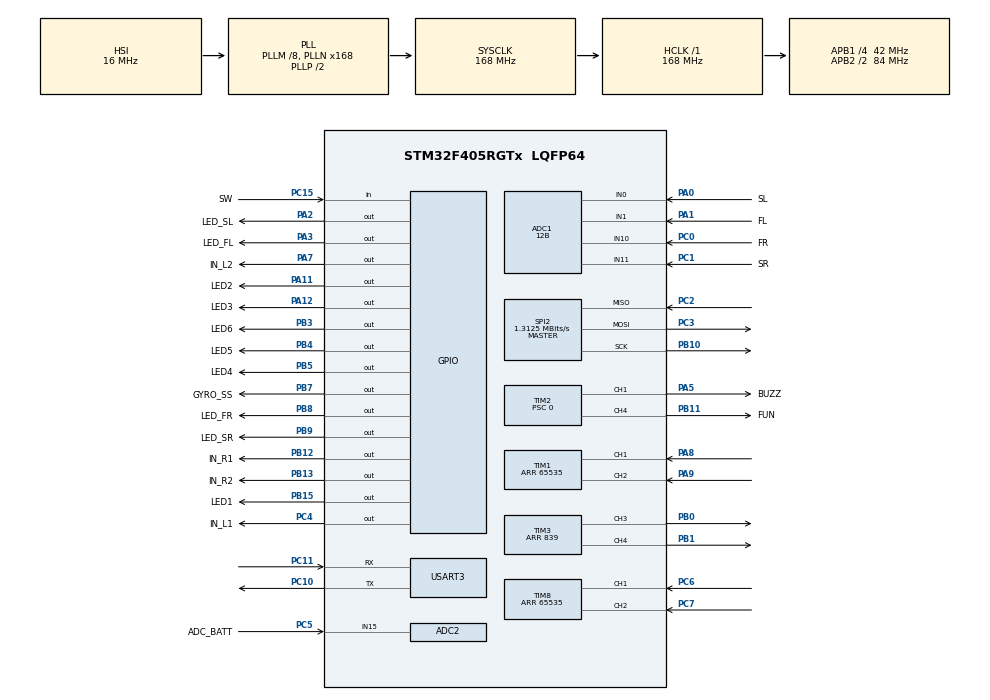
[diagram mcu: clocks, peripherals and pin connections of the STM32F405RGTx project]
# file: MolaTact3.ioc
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ADC1.Channel-0\#ChannelRegularConversion=ADC_CHANNEL_10
ADC1.Channel-1\#ChannelRegularConversion=ADC_CHANNEL_1
ADC1.Channel-2\#ChannelRegularConversion=ADC_CHANNEL_11
ADC1.Channel-3\#ChannelRegularConversion=ADC_CHANNEL_0
ADC1.ClockPrescaler=ADC_CLOCK_SYNC_PCLK_DIV4
ADC1.ContinuousConvMode=ENABLE
ADC1.DMAContinuousRequests=ENABLE
ADC1.NbrOfConversion=4
ADC1.NbrOfConversionFlag=1
ADC1.Rank-0\#ChannelRegularConversion=1
ADC1.Rank-1\#ChannelRegularConversion=2
ADC1.Rank-2\#ChannelRegularConversion=3
ADC1.Rank-3\#ChannelRegularConversion=4
ADC1.Resolution=ADC_RESOLUTION_12B
ADC1.SamplingTime-0\#ChannelRegularConversion=ADC_SAMPLETIME_15CYCLES
ADC1.SamplingTime-1\#ChannelRegularConversion=ADC_SAMPLETIME_15CYCLES
ADC1.SamplingTime-2\#ChannelRegularConversion=ADC_SAMPLETIME_15CYCLES
ADC1.SamplingTime-3\#ChannelRegularConversion=ADC_SAMPLETIME_15CYCLES
ADC1.ScanConvMode=ENABLE
ADC1.master=1
ADC2.Channel-0\#ChannelRegularConversion=ADC_CHANNEL_15
ADC2.NbrOfConversionFlag=1
ADC2.Rank-0\#ChannelRegularConversion=1
ADC2.Resolution=ADC_RESOLUTION_10B
ADC2.SamplingTime-0\#ChannelRegularConversion=ADC_SAMPLETIME_3CYCLES
Dma.ADC1.0.Direction=DMA_PERIPH_TO_MEMORY
Dma.ADC1.0.FIFOMode=DMA_FIFOMODE_DISABLE
Dma.ADC1.0.Instance=DMA2_Stream4
Dma.ADC1.0.MemDataAlignment=DMA_MDATAALIGN_HALFWORD
Dma.ADC1.0.MemInc=DMA_MINC_ENABLE
Dma.ADC1.0.Mode=DMA_NORMAL
Dma.ADC1.0.PeriphDataAlignment=DMA_PDATAALIGN_HALFWORD
Dma.ADC1.0.PeriphInc=DMA_PINC_DISABLE
Dma.ADC1.0.Priority=DMA_PRIORITY_MEDIUM
Dma.Request0=ADC1
Mcu.Family=STM32F4
Mcu.Name=STM32F405RGTx
Mcu.Package=LQFP64
NVIC.DMA2_Stream4_IRQn=true\:0\:0\:false\:false\:true\:false\:true
NVIC.PriorityGroup=NVIC_PRIORITYGROUP_4
NVIC.TIM3_IRQn=true\:0\:0\:false\:false\:true\:true\:true
NVIC.TIM4_IRQn=true\:0\:0\:false\:false\:true\:true\:true
NVIC.TIM5_IRQn=true\:0\:0\:false\:false\:true\:true\:true
PA0-WKUP.GPIO_Label=SL
PA0-WKUP.Signal=ADCx_IN0
PA1.GPIO_Label=FL
PA1.Signal=ADCx_IN1
PA11.GPIO_Label=LED2
PA11.Signal=GPIO_Output
PA12.GPIO_Label=LED3
PA12.Signal=GPIO_Output
PA13.Signal=SYS_JTMS-SWDIO
PA14.Signal=SYS_JTCK-SWCLK
PA2.GPIO_Label=LED_SL
PA2.Signal=GPIO_Output
PA3.GPIO_Label=LED_FL
PA3.Signal=GPIO_Output
PA5.GPIO_Label=BUZZ
PA5.Signal=S_TIM2_CH1_ETR
PA7.GPIO_Label=IN_L2
PA7.Signal=GPIO_Output
PA8.Signal=S_TIM1_CH1
PA9.Signal=S_TIM1_CH2
PB0.Signal=S_TIM3_CH3
PB1.Signal=S_TIM3_CH4
PB10.Mode=Full_Duplex_Master
PB10.Signal=SPI2_SCK
PB11.GPIO_Label=FUN
PB11.Signal=S_TIM2_CH4
PB12.GPIO_Label=IN_R1
PB12.Signal=GPIO_Output
PB13.GPIO_Label=IN_R2
PB13.Signal=GPIO_Output
PB15.GPIO_Label=LED1
PB15.Signal=GPIO_Output
PB3.GPIO_Label=LED6
PB3.Signal=GPIO_Output
PB4.GPIO_Label=LED5
PB4.Signal=GPIO_Output
PB5.GPIO_Label=LED4
PB5.Signal=GPIO_Output
PB7.GPIO_Label=GYRO_SS
PB7.Signal=GPIO_Output
PB8.GPIO_Label=LED_FR
PB8.Signal=GPIO_Output
PB9.GPIO_Label=LED_SR
PB9.Signal=GPIO_Output
PC0.GPIO_Label=FR
PC0.Signal=ADCx_IN10
PC1.GPIO_Label=SR
PC1.Signal=ADCx_IN11
PC10.Mode=Asynchronous
PC10.Signal=USART3_TX
PC11.Mode=Asynchronous
PC11.Signal=USART3_RX
PC15-OSC32_OUT.GPIO_Label=SW
PC15-OSC32_OUT.Signal=GPIO_Input
PC2.Mode=Full_Duplex_Master
PC2.Signal=SPI2_MISO
PC3.Mode=Full_Duplex_Master
PC3.Signal=SPI2_MOSI
PC4.GPIO_Label=IN_L1
PC4.Signal=GPIO_Output
PC5.GPIO_Label=ADC_BATT
PC5.Signal=ADCx_IN15
PC6.Signal=S_TIM8_CH1
PC7.Signal=S_TIM8_CH2
ProjectManager.HeapSize=0x200
ProjectManager.StackSize=0x400
ProjectManager.TargetToolchain=STM32CubeIDE
RCC.48MHZClocksFreq_Value=84000000
RCC.AHBFreq_Value=168000000
RCC.APB1CLKDivider=RCC_HCLK_DIV4
RCC.APB1Freq_Value=42000000
RCC.APB1TimFreq_Value=84000000
RCC.APB2CLKDivider=RCC_HCLK_DIV2
RCC.APB2Freq_Value=84000000
RCC.APB2TimFreq_Value=168000000
RCC.CortexFreq_Value=168000000
RCC.HCLKFreq_Value=168000000
RCC.HSE_VALUE=25000000
RCC.HSI_VALUE=16000000
RCC.LSE_VALUE=32768
RCC.PLLM=8
RCC.PLLN=168
RCC.SYSCLKFreq_VALUE=168000000
RCC.SYSCLKSource=RCC_SYSCLKSOURCE_PLLCLK
RCC.VCOOutputFreq_Value=336000000
SH.ADCx_IN0.0=ADC1_IN0,IN0
SH.ADCx_IN1.0=ADC1_IN1,IN1
SH.ADCx_IN10.0=ADC1_IN10,IN10
SH.ADCx_IN11.0=ADC1_IN11,IN11
SH.ADCx_IN15.0=ADC2_IN15,IN15
SH.S_TIM1_CH1.0=TIM1_CH1,Encoder_Interface
SH.S_TIM1_CH2.0=TIM1_CH2,Encoder_Interface
SH.S_TIM2_CH1_ETR.0=TIM2_CH1,PWM Generation1 CH1
SH.S_TIM2_CH4.0=TIM2_CH4,PWM Generation4 CH4
SH.S_TIM3_CH3.0=TIM3_CH3,PWM Generation3 CH3
SH.S_TIM3_CH4.0=TIM3_CH4,PWM Generation4 CH4
SH.S_TIM8_CH1.0=TIM8_CH1,Encoder_Interface
SH.S_TIM8_CH2.0=TIM8_CH2,Encoder_Interface
SPI2.BaudRatePrescaler=SPI_BAUDRATEPRESCALER_32
SPI2.CalculateBaudRate=1.3125 MBits/s
SPI2.Direction=SPI_DIRECTION_2LINES
SPI2.Mode=SPI_MODE_MASTER
SPI2.VirtualType=VM_MASTER
TIM1.ClockDivision=TIM_CLOCKDIVISION_DIV4
TIM1.EncoderMode=TIM_ENCODERMODE_TI12
TIM1.Period=65535
TIM2.Channel-PWM\ Generation1\ CH1=TIM_CHANNEL_1
TIM2.Channel-PWM\ Generation4\ CH4=TIM_CHANNEL_4
TIM2.Period=999
TIM2.Prescaler=0
TIM3.Channel-PWM\ Generation3\ CH3=TIM_CHANNEL_3
TIM3.Channel-PWM\ Generation4\ CH4=TIM_CHANNEL_4
TIM3.Period=839
TIM4.Period=999
TIM4.Prescaler=83
TIM5.Period=999
TIM5.Prescaler=83
TIM8.AutoReloadPreload=TIM_AUTORELOAD_PRELOAD_DISABLE
TIM8.ClockDivision=TIM_CLOCKDIVISION_DIV4
TIM8.EncoderMode=TIM_ENCODERMODE_TI12
TIM8.Period=65535
USART3.VirtualMode=VM_ASYNC
VP_TIM4_VS_ClockSourceINT.Mode=Internal
VP_TIM5_VS_ClockSourceINT.Mode=Internal
board=custom

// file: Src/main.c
/* USER CODE BEGIN Header */
/**
  ******************************************************************************
  * @file           : main.c
  * @brief          : Main program body
  ******************************************************************************
  * @attention
  *
  * <h2><center>&copy; Copyright (c) 2019 STMicroelectronics.
  * All rights reserved.</center></h2>
  *
  * This software component is licensed by ST under BSD 3-Clause license,
  * the "License"; You may not use this file except in compliance with the
  * License. You may obtain a copy of the License at:
  *                        opensource.org/licenses/BSD-3-Clause
  *
  ******************************************************************************
  */

/* USER CODE END Header */

#include "main.h"

/* USER CODE BEGIN Includes */
#define MAIN_C_

#include "global.h"

/* USER CODE END Includes */

ADC_HandleTypeDef hadc1;
ADC_HandleTypeDef hadc2;
DMA_HandleTypeDef hdma_adc1;

SPI_HandleTypeDef hspi2;

TIM_HandleTypeDef htim1;
TIM_HandleTypeDef htim2;
TIM_HandleTypeDef htim3;
TIM_HandleTypeDef htim4;
TIM_HandleTypeDef htim5;
TIM_HandleTypeDef htim8;

UART_HandleTypeDef huart3;

/* USER CODE BEGIN PV */
#ifdef __GNUC__
#define PUTCHAR_PROTOTYPE int __io_putchar(int ch)
#else
#define PUTCHAR_PROTOTYPE int fputc(int ch, FILE *f)
#endif /* __GNUC__ */

void __io_putchar(uint8_t ch) {
HAL_UART_Transmit(&huart3, &ch, 1, 1);
}
/* USER CODE END PV */

void SystemClock_Config(void);
static void MX_GPIO_Init(void);
static void MX_DMA_Init(void);
static void MX_ADC1_Init(void);
static void MX_SPI2_Init(void);
static void MX_TIM1_Init(void);
static void MX_TIM2_Init(void);
static void MX_TIM3_Init(void);
static void MX_TIM4_Init(void);
static void MX_TIM8_Init(void);
static void MX_USART3_UART_Init(void);
static void MX_ADC2_Init(void);
static void MX_TIM5_Init(void);
/* USER CODE BEGIN PFP */

uint8_t mode = 0;
/* USER CODE END PFP */

int main(void)
{
  /* USER CODE BEGIN 1 */
	setbuf(stdout, NULL);
  /* USER CODE END 1 */

  /* MCU Configuration--------------------------------------------------------*/

  /* Reset of all peripherals, Initializes the Flash interface and the Systick. */
  HAL_Init();

  /* Configure the system clock */
  SystemClock_Config();

  /* Initialize all configured peripherals */
  MX_GPIO_Init();
  MX_DMA_Init();
  MX_ADC1_Init();
  MX_SPI2_Init();
  MX_TIM1_Init();
  MX_TIM2_Init();
  MX_TIM3_Init();
  MX_TIM4_Init();
  MX_TIM8_Init();
  MX_USART3_UART_Init();
  MX_ADC2_Init();
  MX_TIM5_Init();
  /* USER CODE BEGIN 2 */
  printf("\nProgram Start!\n\r");

//Initialization
  MF.FLAGS = 0;
  Search_Init();
  IMU_Init();
  ICM20602_Init();

//function start

   HAL_TIM_Encoder_Start( &htim1, TIM_CHANNEL_ALL );
   HAL_TIM_Encoder_Start( &htim8, TIM_CHANNEL_ALL );
   Encoder_Init();
   HAL_TIM_Base_Start_IT(&htim2);
   HAL_TIM_Base_Start_IT(&htim4);
   HAL_TIM_Base_Start_IT(&htim5);
   Motor_Init();
   Start_LED();
   Battery_Monitor();

  /* USER CODE END 2 */

  /* Infinite loop */
  /* USER CODE BEGIN WHILE */
   while (1)
   {
		   printf("Select Mode!\r\n");
		   mode = mode_change();
		   printf("Mode=%d\r\n", mode);
		   Mode_Select(mode);

    /* USER CODE END WHILE */

  	  }
}

void SystemClock_Config(void)
{
  RCC_OscInitTypeDef RCC_OscInitStruct = {0};
  RCC_ClkInitTypeDef RCC_ClkInitStruct = {0};

  /** Configure the main internal regulator output voltage
  */
  __HAL_RCC_PWR_CLK_ENABLE();
  __HAL_PWR_VOLTAGESCALING_CONFIG(PWR_REGULATOR_VOLTAGE_SCALE1);
  /** Initializes the CPU, AHB and APB busses clocks
  */
  RCC_OscInitStruct.OscillatorType = RCC_OSCILLATORTYPE_HSI;
  RCC_OscInitStruct.HSIState = RCC_HSI_ON;
  RCC_OscInitStruct.HSICalibrationValue = RCC_HSICALIBRATION_DEFAULT;
  RCC_OscInitStruct.PLL.PLLState = RCC_PLL_ON;
  RCC_OscInitStruct.PLL.PLLSource = RCC_PLLSOURCE_HSI;
  RCC_OscInitStruct.PLL.PLLM = 8;
  RCC_OscInitStruct.PLL.PLLN = 168;
  RCC_OscInitStruct.PLL.PLLP = RCC_PLLP_DIV2;
  RCC_OscInitStruct.PLL.PLLQ = 4;
  if (HAL_RCC_OscConfig(&RCC_OscInitStruct) != HAL_OK)
  {
    Error_Handler();
  }
  /** Initializes the CPU, AHB and APB busses clocks
  */
  RCC_ClkInitStruct.ClockType = RCC_CLOCKTYPE_HCLK|RCC_CLOCKTYPE_SYSCLK
                              |RCC_CLOCKTYPE_PCLK1|RCC_CLOCKTYPE_PCLK2;
  RCC_ClkInitStruct.SYSCLKSource = RCC_SYSCLKSOURCE_PLLCLK;
  RCC_ClkInitStruct.AHBCLKDivider = RCC_SYSCLK_DIV1;
  RCC_ClkInitStruct.APB1CLKDivider = RCC_HCLK_DIV4;
  RCC_ClkInitStruct.APB2CLKDivider = RCC_HCLK_DIV2;

  if (HAL_RCC_ClockConfig(&RCC_ClkInitStruct, FLASH_LATENCY_5) != HAL_OK)
  {
    Error_Handler();
  }
}

static void MX_ADC1_Init(void)
{

  ADC_ChannelConfTypeDef sConfig = {0};

  /** Configure the global features of the ADC (Clock, Resolution, Data Alignment and number of conversion)
  */
  hadc1.Instance = ADC1;
  hadc1.Init.ClockPrescaler = ADC_CLOCK_SYNC_PCLK_DIV4;
  hadc1.Init.Resolution = ADC_RESOLUTION_12B;
  hadc1.Init.ScanConvMode = ENABLE;
  hadc1.Init.ContinuousConvMode = ENABLE;
  hadc1.Init.DiscontinuousConvMode = DISABLE;
  hadc1.Init.ExternalTrigConvEdge = ADC_EXTERNALTRIGCONVEDGE_NONE;
  hadc1.Init.ExternalTrigConv = ADC_SOFTWARE_START;
  hadc1.Init.DataAlign = ADC_DATAALIGN_RIGHT;
  hadc1.Init.NbrOfConversion = 4;
  hadc1.Init.DMAContinuousRequests = ENABLE;
  hadc1.Init.EOCSelection = ADC_EOC_SINGLE_CONV;
  if (HAL_ADC_Init(&hadc1) != HAL_OK)
  {
    Error_Handler();
  }
  /** Configure for the selected ADC regular channel its corresponding rank in the sequencer and its sample time.
  */
  sConfig.Channel = ADC_CHANNEL_10;
  sConfig.Rank = 1;
  sConfig.SamplingTime = ADC_SAMPLETIME_15CYCLES;
  if (HAL_ADC_ConfigChannel(&hadc1, &sConfig) != HAL_OK)
  {
    Error_Handler();
  }
  /** Configure for the selected ADC regular channel its corresponding rank in the sequencer and its sample time.
  */
  sConfig.Channel = ADC_CHANNEL_1;
  sConfig.Rank = 2;
  if (HAL_ADC_ConfigChannel(&hadc1, &sConfig) != HAL_OK)
  {
    Error_Handler();
  }
  /** Configure for the selected ADC regular channel its corresponding rank in the sequencer and its sample time.
  */
  sConfig.Channel = ADC_CHANNEL_11;
  sConfig.Rank = 3;
  if (HAL_ADC_ConfigChannel(&hadc1, &sConfig) != HAL_OK)
  {
    Error_Handler();
  }
  /** Configure for the selected ADC regular channel its corresponding rank in the sequencer and its sample time.
  */
  sConfig.Channel = ADC_CHANNEL_0;
  sConfig.Rank = 4;
  if (HAL_ADC_ConfigChannel(&hadc1, &sConfig) != HAL_OK)
  {
    Error_Handler();
  }

}

static void MX_ADC2_Init(void)
{

  ADC_ChannelConfTypeDef sConfig = {0};

  /** Configure the global features of the ADC (Clock, Resolution, Data Alignment and number of conversion)
  */
  hadc2.Instance = ADC2;
  hadc2.Init.ClockPrescaler = ADC_CLOCK_SYNC_PCLK_DIV4;
  hadc2.Init.Resolution = ADC_RESOLUTION_10B;
  hadc2.Init.ScanConvMode = DISABLE;
  hadc2.Init.ContinuousConvMode = DISABLE;
  hadc2.Init.DiscontinuousConvMode = DISABLE;
  hadc2.Init.ExternalTrigConvEdge = ADC_EXTERNALTRIGCONVEDGE_NONE;
  hadc2.Init.ExternalTrigConv = ADC_SOFTWARE_START;
  hadc2.Init.DataAlign = ADC_DATAALIGN_RIGHT;
  hadc2.Init.NbrOfConversion = 1;
  hadc2.Init.DMAContinuousRequests = DISABLE;
  hadc2.Init.EOCSelection = ADC_EOC_SINGLE_CONV;
  if (HAL_ADC_Init(&hadc2) != HAL_OK)
  {
    Error_Handler();
  }
  /** Configure for the selected ADC regular channel its corresponding rank in the sequencer and its sample time.
  */
  sConfig.Channel = ADC_CHANNEL_15;
  sConfig.Rank = 1;
  sConfig.SamplingTime = ADC_SAMPLETIME_3CYCLES;
  if (HAL_ADC_ConfigChannel(&hadc2, &sConfig) != HAL_OK)
  {
    Error_Handler();
  }

}

static void MX_SPI2_Init(void)
{

  /* SPI2 parameter configuration*/
  hspi2.Instance = SPI2;
  hspi2.Init.Mode = SPI_MODE_MASTER;
  hspi2.Init.Direction = SPI_DIRECTION_2LINES;
  hspi2.Init.DataSize = SPI_DATASIZE_8BIT;
  hspi2.Init.CLKPolarity = SPI_POLARITY_LOW;
  hspi2.Init.CLKPhase = SPI_PHASE_1EDGE;
  hspi2.Init.NSS = SPI_NSS_SOFT;
  hspi2.Init.BaudRatePrescaler = SPI_BAUDRATEPRESCALER_32;
  hspi2.Init.FirstBit = SPI_FIRSTBIT_MSB;
  hspi2.Init.TIMode = SPI_TIMODE_DISABLE;
  hspi2.Init.CRCCalculation = SPI_CRCCALCULATION_DISABLE;
  hspi2.Init.CRCPolynomial = 10;
  if (HAL_SPI_Init(&hspi2) != HAL_OK)
  {
    Error_Handler();
  }

}

static void MX_TIM1_Init(void)
{

  TIM_Encoder_InitTypeDef sConfig = {0};
  TIM_MasterConfigTypeDef sMasterConfig = {0};

  htim1.Instance = TIM1;
  htim1.Init.Prescaler = 0;
  htim1.Init.CounterMode = TIM_COUNTERMODE_UP;
  htim1.Init.Period = 65535;
  htim1.Init.ClockDivision = TIM_CLOCKDIVISION_DIV4;
  htim1.Init.RepetitionCounter = 0;
  htim1.Init.AutoReloadPreload = TIM_AUTORELOAD_PRELOAD_DISABLE;
  sConfig.EncoderMode = TIM_ENCODERMODE_TI12;
  sConfig.IC1Polarity = TIM_ICPOLARITY_RISING;
  sConfig.IC1Selection = TIM_ICSELECTION_DIRECTTI;
  sConfig.IC1Prescaler = TIM_ICPSC_DIV1;
  sConfig.IC1Filter = 0;
  sConfig.IC2Polarity = TIM_ICPOLARITY_RISING;
  sConfig.IC2Selection = TIM_ICSELECTION_DIRECTTI;
  sConfig.IC2Prescaler = TIM_ICPSC_DIV1;
  sConfig.IC2Filter = 0;
  if (HAL_TIM_Encoder_Init(&htim1, &sConfig) != HAL_OK)
  {
    Error_Handler();
  }
  sMasterConfig.MasterOutputTrigger = TIM_TRGO_RESET;
  sMasterConfig.MasterSlaveMode = TIM_MASTERSLAVEMODE_DISABLE;
  if (HAL_TIMEx_MasterConfigSynchronization(&htim1, &sMasterConfig) != HAL_OK)
  {
    Error_Handler();
  }

}

static void MX_TIM2_Init(void)
{

  TIM_MasterConfigTypeDef sMasterConfig = {0};
  TIM_OC_InitTypeDef sConfigOC = {0};

  htim2.Instance = TIM2;
  htim2.Init.Prescaler = 0;
  htim2.Init.CounterMode = TIM_COUNTERMODE_UP;
  htim2.Init.Period = 999;
  htim2.Init.ClockDivision = TIM_CLOCKDIVISION_DIV1;
  htim2.Init.AutoReloadPreload = TIM_AUTORELOAD_PRELOAD_DISABLE;
  if (HAL_TIM_PWM_Init(&htim2) != HAL_OK)
  {
    Error_Handler();
  }
  sMasterConfig.MasterOutputTrigger = TIM_TRGO_RESET;
  sMasterConfig.MasterSlaveMode = TIM_MASTERSLAVEMODE_DISABLE;
  if (HAL_TIMEx_MasterConfigSynchronization(&htim2, &sMasterConfig) != HAL_OK)
  {
    Error_Handler();
  }
  sConfigOC.OCMode = TIM_OCMODE_PWM1;
  sConfigOC.Pulse = 0;
  sConfigOC.OCPolarity = TIM_OCPOLARITY_HIGH;
  sConfigOC.OCFastMode = TIM_OCFAST_DISABLE;
  if (HAL_TIM_PWM_ConfigChannel(&htim2, &sConfigOC, TIM_CHANNEL_1) != HAL_OK)
  {
    Error_Handler();
  }
  if (HAL_TIM_PWM_ConfigChannel(&htim2, &sConfigOC, TIM_CHANNEL_4) != HAL_OK)
  {
    Error_Handler();
  }
  HAL_TIM_MspPostInit(&htim2);

}

static void MX_TIM3_Init(void)
{

  TIM_MasterConfigTypeDef sMasterConfig = {0};
  TIM_OC_InitTypeDef sConfigOC = {0};

  htim3.Instance = TIM3;
  htim3.Init.Prescaler = 0;
  htim3.Init.CounterMode = TIM_COUNTERMODE_UP;
  htim3.Init.Period = 839;
  htim3.Init.ClockDivision = TIM_CLOCKDIVISION_DIV1;
  htim3.Init.AutoReloadPreload = TIM_AUTORELOAD_PRELOAD_DISABLE;
  if (HAL_TIM_PWM_Init(&htim3) != HAL_OK)
  {
    Error_Handler();
  }
  sMasterConfig.MasterOutputTrigger = TIM_TRGO_RESET;
  sMasterConfig.MasterSlaveMode = TIM_MASTERSLAVEMODE_DISABLE;
  if (HAL_TIMEx_MasterConfigSynchronization(&htim3, &sMasterConfig) != HAL_OK)
  {
    Error_Handler();
  }
  sConfigOC.OCMode = TIM_OCMODE_PWM1;
  sConfigOC.Pulse = 0;
  sConfigOC.OCPolarity = TIM_OCPOLARITY_HIGH;
  sConfigOC.OCFastMode = TIM_OCFAST_DISABLE;
  if (HAL_TIM_PWM_ConfigChannel(&htim3, &sConfigOC, TIM_CHANNEL_3) != HAL_OK)
  {
    Error_Handler();
  }
  if (HAL_TIM_PWM_ConfigChannel(&htim3, &sConfigOC, TIM_CHANNEL_4) != HAL_OK)
  {
    Error_Handler();
  }
  HAL_TIM_MspPostInit(&htim3);

}

static void MX_TIM4_Init(void)
{

  TIM_ClockConfigTypeDef sClockSourceConfig = {0};
  TIM_MasterConfigTypeDef sMasterConfig = {0};

  htim4.Instance = TIM4;
  htim4.Init.Prescaler = 83;
  htim4.Init.CounterMode = TIM_COUNTERMODE_UP;
  htim4.Init.Period = 999;
  htim4.Init.ClockDivision = TIM_CLOCKDIVISION_DIV1;
  htim4.Init.AutoReloadPreload = TIM_AUTORELOAD_PRELOAD_DISABLE;
  if (HAL_TIM_Base_Init(&htim4) != HAL_OK)
  {
    Error_Handler();
  }
  sClockSourceConfig.ClockSource = TIM_CLOCKSOURCE_INTERNAL;
  if (HAL_TIM_ConfigClockSource(&htim4, &sClockSourceConfig) != HAL_OK)
  {
    Error_Handler();
  }
  sMasterConfig.MasterOutputTrigger = TIM_TRGO_RESET;
  sMasterConfig.MasterSlaveMode = TIM_MASTERSLAVEMODE_DISABLE;
  if (HAL_TIMEx_MasterConfigSynchronization(&htim4, &sMasterConfig) != HAL_OK)
  {
    Error_Handler();
  }

}

static void MX_TIM5_Init(void)
{

  TIM_ClockConfigTypeDef sClockSourceConfig = {0};
  TIM_MasterConfigTypeDef sMasterConfig = {0};

  htim5.Instance = TIM5;
  htim5.Init.Prescaler = 83;
  htim5.Init.CounterMode = TIM_COUNTERMODE_UP;
  htim5.Init.Period = 999;
  htim5.Init.ClockDivision = TIM_CLOCKDIVISION_DIV1;
  htim5.Init.AutoReloadPreload = TIM_AUTORELOAD_PRELOAD_DISABLE;
  if (HAL_TIM_Base_Init(&htim5) != HAL_OK)
  {
    Error_Handler();
  }
  sClockSourceConfig.ClockSource = TIM_CLOCKSOURCE_INTERNAL;
  if (HAL_TIM_ConfigClockSource(&htim5, &sClockSourceConfig) != HAL_OK)
  {
    Error_Handler();
  }
  sMasterConfig.MasterOutputTrigger = TIM_TRGO_RESET;
  sMasterConfig.MasterSlaveMode = TIM_MASTERSLAVEMODE_DISABLE;
  if (HAL_TIMEx_MasterConfigSynchronization(&htim5, &sMasterConfig) != HAL_OK)
  {
    Error_Handler();
  }

}

static void MX_TIM8_Init(void)
{

  TIM_Encoder_InitTypeDef sConfig = {0};
  TIM_MasterConfigTypeDef sMasterConfig = {0};

  htim8.Instance = TIM8;
  htim8.Init.Prescaler = 0;
  htim8.Init.CounterMode = TIM_COUNTERMODE_UP;
  htim8.Init.Period = 65535;
  htim8.Init.ClockDivision = TIM_CLOCKDIVISION_DIV4;
  htim8.Init.RepetitionCounter = 0;
  htim8.Init.AutoReloadPreload = TIM_AUTORELOAD_PRELOAD_DISABLE;
  sConfig.EncoderMode = TIM_ENCODERMODE_TI12;
  sConfig.IC1Polarity = TIM_ICPOLARITY_RISING;
  sConfig.IC1Selection = TIM_ICSELECTION_DIRECTTI;
  sConfig.IC1Prescaler = TIM_ICPSC_DIV1;
  sConfig.IC1Filter = 0;
  sConfig.IC2Polarity = TIM_ICPOLARITY_RISING;
  sConfig.IC2Selection = TIM_ICSELECTION_DIRECTTI;
  sConfig.IC2Prescaler = TIM_ICPSC_DIV1;
  sConfig.IC2Filter = 0;
  if (HAL_TIM_Encoder_Init(&htim8, &sConfig) != HAL_OK)
  {
    Error_Handler();
  }
  sMasterConfig.MasterOutputTrigger = TIM_TRGO_RESET;
  sMasterConfig.MasterSlaveMode = TIM_MASTERSLAVEMODE_DISABLE;
  if (HAL_TIMEx_MasterConfigSynchronization(&htim8, &sMasterConfig) != HAL_OK)
  {
    Error_Handler();
  }

}

static void MX_USART3_UART_Init(void)
{

  huart3.Instance = USART3;
  huart3.Init.BaudRate = 115200;
  huart3.Init.WordLength = UART_WORDLENGTH_8B;
  huart3.Init.StopBits = UART_STOPBITS_1;
  huart3.Init.Parity = UART_PARITY_NONE;
  huart3.Init.Mode = UART_MODE_TX_RX;
  huart3.Init.HwFlowCtl = UART_HWCONTROL_NONE;
  huart3.Init.OverSampling = UART_OVERSAMPLING_16;
  if (HAL_UART_Init(&huart3) != HAL_OK)
  {
    Error_Handler();
  }

}

static void MX_DMA_Init(void)
{
  /* DMA controller clock enable */
  __HAL_RCC_DMA2_CLK_ENABLE();

  /* DMA interrupt init */
  /* DMA2_Stream4_IRQn interrupt configuration */
  HAL_NVIC_SetPriority(DMA2_Stream4_IRQn, 0, 0);
  HAL_NVIC_EnableIRQ(DMA2_Stream4_IRQn);

}

static void MX_GPIO_Init(void)
{
  GPIO_InitTypeDef GPIO_InitStruct = {0};

  /* GPIO Ports Clock Enable */
  __HAL_RCC_GPIOC_CLK_ENABLE();
  __HAL_RCC_GPIOA_CLK_ENABLE();
  __HAL_RCC_GPIOB_CLK_ENABLE();

  /*Configure GPIO pin Output Level */
  HAL_GPIO_WritePin(GPIOA, LED_SL_Pin|LED_FL_Pin|IN_L2_Pin|LED2_Pin
                          |LED3_Pin, GPIO_PIN_RESET);

  /*Configure GPIO pin Output Level */
  HAL_GPIO_WritePin(IN_L1_GPIO_Port, IN_L1_Pin, GPIO_PIN_RESET);

  /*Configure GPIO pin Output Level */
  HAL_GPIO_WritePin(GPIOB, IN_R1_Pin|IN_R2_Pin|LED1_Pin|LED6_Pin
                          |LED5_Pin|LED4_Pin|GYRO_SS_Pin|LED_FR_Pin
                          |LED_SR_Pin, GPIO_PIN_RESET);

  /*Configure GPIO pin : SW_Pin */
  GPIO_InitStruct.Pin = SW_Pin;
  GPIO_InitStruct.Mode = GPIO_MODE_INPUT;
  GPIO_InitStruct.Pull = GPIO_NOPULL;
  HAL_GPIO_Init(SW_GPIO_Port, &GPIO_InitStruct);

  /*Configure GPIO pins : LED_SL_Pin LED_FL_Pin IN_L2_Pin LED2_Pin
                           LED3_Pin */
  GPIO_InitStruct.Pin = LED_SL_Pin|LED_FL_Pin|IN_L2_Pin|LED2_Pin
                          |LED3_Pin;
  GPIO_InitStruct.Mode = GPIO_MODE_OUTPUT_PP;
  GPIO_InitStruct.Pull = GPIO_NOPULL;
  GPIO_InitStruct.Speed = GPIO_SPEED_FREQ_LOW;
  HAL_GPIO_Init(GPIOA, &GPIO_InitStruct);

  /*Configure GPIO pin : IN_L1_Pin */
  GPIO_InitStruct.Pin = IN_L1_Pin;
  GPIO_InitStruct.Mode = GPIO_MODE_OUTPUT_PP;
  GPIO_InitStruct.Pull = GPIO_NOPULL;
  GPIO_InitStruct.Speed = GPIO_SPEED_FREQ_LOW;
  HAL_GPIO_Init(IN_L1_GPIO_Port, &GPIO_InitStruct);

  /*Configure GPIO pins : IN_R1_Pin IN_R2_Pin LED1_Pin LED6_Pin
                           LED5_Pin LED4_Pin GYRO_SS_Pin LED_FR_Pin
                           LED_SR_Pin */
  GPIO_InitStruct.Pin = IN_R1_Pin|IN_R2_Pin|LED1_Pin|LED6_Pin
                          |LED5_Pin|LED4_Pin|GYRO_SS_Pin|LED_FR_Pin
                          |LED_SR_Pin;
  GPIO_InitStruct.Mode = GPIO_MODE_OUTPUT_PP;
  GPIO_InitStruct.Pull = GPIO_NOPULL;
  GPIO_InitStruct.Speed = GPIO_SPEED_FREQ_LOW;
  HAL_GPIO_Init(GPIOB, &GPIO_InitStruct);

}

void Error_Handler(void)
{
	while(1){
	}
}

/************************ (C) COPYRIGHT STMicroelectronics *****END OF FILE****/
